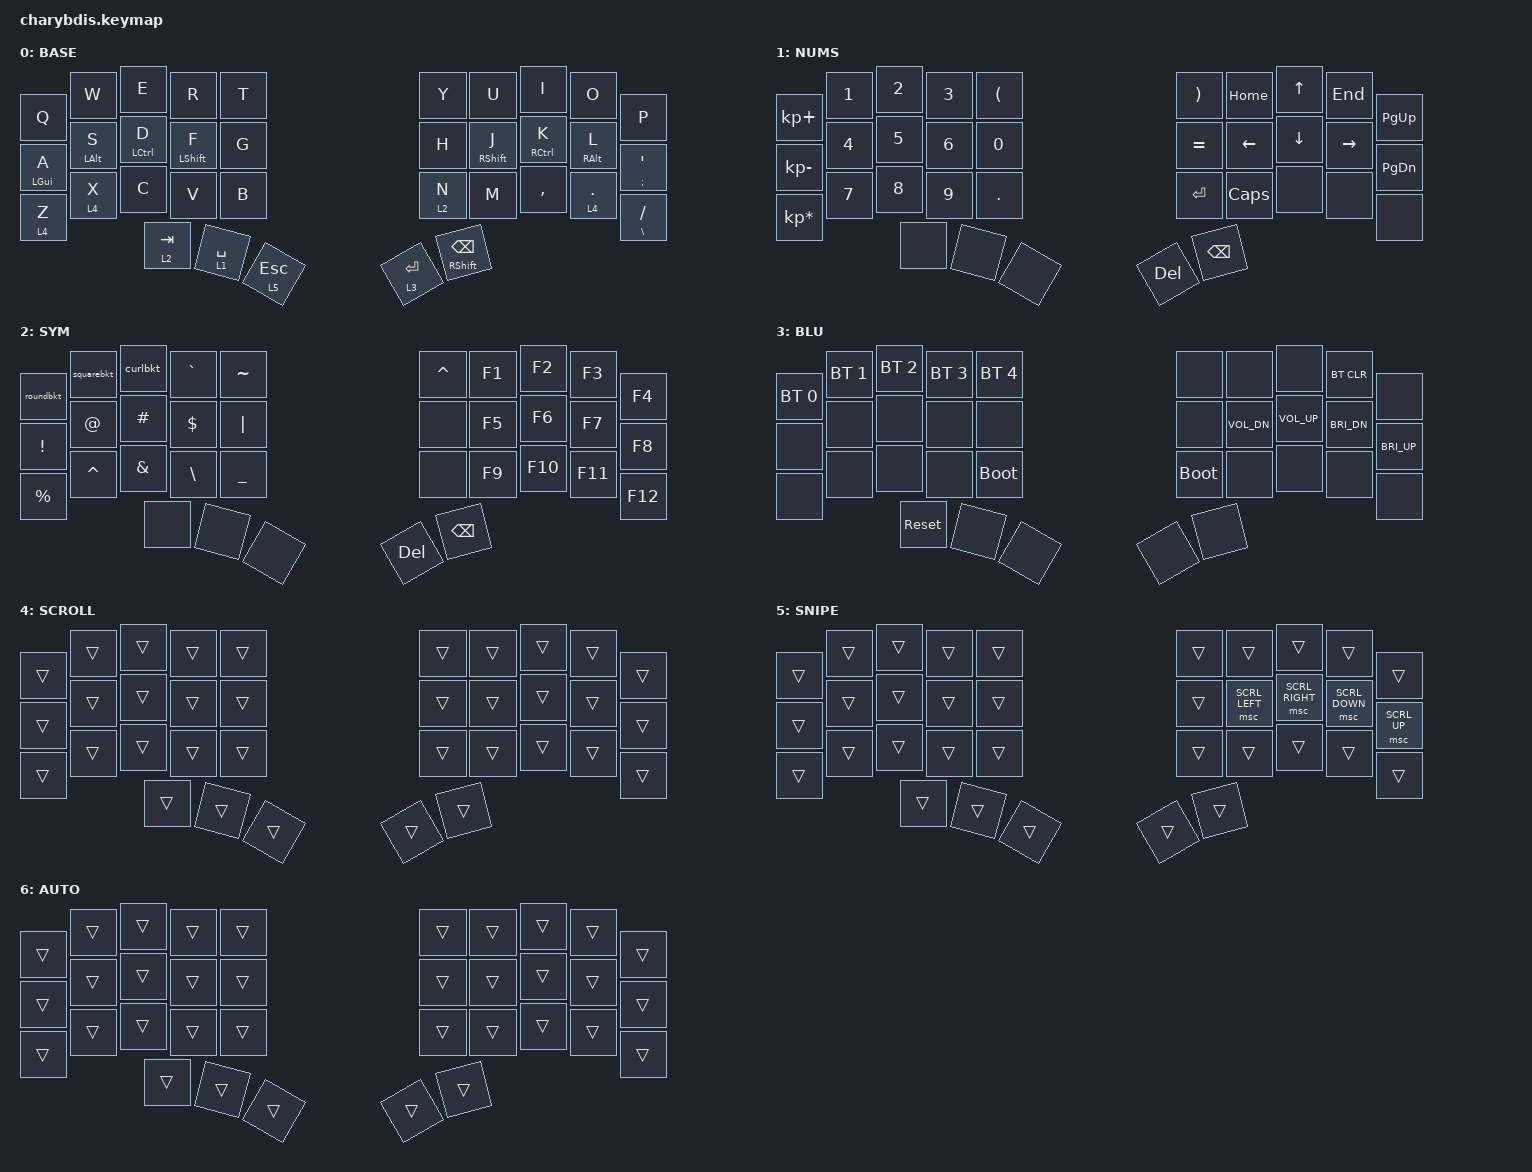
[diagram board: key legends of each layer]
#include <behaviors.dtsi>

#include <dt-bindings/zmk/bt.h>
#include <dt-bindings/zmk/keys.h>
#include <dt-bindings/zmk/pointing.h>

#include <dt-bindings/zmk/ext_power.h>
#include <dt-bindings/zmk/outputs.h>

#include "zmk-helpers/helper.h"

#define HM_TAPPING_TERM 180
#define HM_TAPPING_TERM_FAST 150 
#define HM_PRIOR_IDLE 120

#define COMBO_TERM_FAST 35
#define COMBO_TERM_SLOW 40
#define COMBO_PRIOR_IDLE 80

#define BASE 0
#define NUMS 1
#define SYM 2
#define BLU 3
#define SCROLL 4
#define SNIPE 5
#define AUTO 6

#include "zmk-helpers/key-labels/34.h"                                      // key-position labels

#define KEYS_L LT0 LT1 LT2 LT3 LT4 LM0 LM1 LM2 LM3 LM4 LB0 LB1 LB2 LB3 LB4  // left-hand keys
#define KEYS_R RT0 RT1 RT2 RT3 RT4 RM0 RM1 RM2 RM3 RM4 RB0 RB1 RB2 RB3 RB4  // right-hand keys
#define KEYS_T                 LH1 LH0 RH0 RH1                              // thumb keys

&lt {
    tapping-term-ms = <175>;
};

/ {
    combos {
        compatible = "zmk,combos";

        //INFO: Mouse clicks - left hand
        combo_mouse_left_click_l {
            timeout-ms = <COMBO_TERM_FAST>;
            require-prior-idle-ms = <COMBO_PRIOR_IDLE>;
            bindings = <&mkp LCLK>;
            key-positions = <11 12>;
        };

        combo_mouse_right_click_l {
            timeout-ms = <COMBO_TERM_FAST>;
            require-prior-idle-ms = <COMBO_PRIOR_IDLE>;
            bindings = <&mkp RCLK>;
            key-positions = <12 13>;
        };

        combo_mouse_middle_click_l {
            timeout-ms = <COMBO_TERM_FAST>;
            require-prior-idle-ms = <COMBO_PRIOR_IDLE>;
            bindings = <&mkp MCLK>;
            key-positions = <11 12 13>;
        };

        //INFO: Mouse clicks - right hand
        combo_mouse_left_click_r {
            timeout-ms = <COMBO_TERM_FAST>;
            require-prior-idle-ms = <COMBO_PRIOR_IDLE>;
            bindings = <&mkp LCLK>;
            key-positions = <16 17>;  
        };

        combo_mouse_right_click_r {
            timeout-ms = <COMBO_TERM_FAST>;
            require-prior-idle-ms = <COMBO_PRIOR_IDLE>;
            bindings = <&mkp RCLK>;
            key-positions = <17 18>;
        };

        combo_mouse_middle_click_r {
            timeout-ms = <COMBO_TERM_FAST>;
            require-prior-idle-ms = <COMBO_PRIOR_IDLE>;
            bindings = <&mkp MCLK>;
            key-positions = <16 17 18>;
        };

        //INFO: Layer activation
        combo_layer_blu_l {
            timeout-ms = <COMBO_TERM_FAST>;
            require-prior-idle-ms = <COMBO_PRIOR_IDLE>;
            bindings = <&mo 4>;
            key-positions = <38 39>;
        };

        combo_layer_blu_r {
            timeout-ms = <COMBO_TERM_FAST>;
            require-prior-idle-ms = <COMBO_PRIOR_IDLE>;
            bindings = <&mo 3>;
            key-positions = <21 22 23>;
        };

        combo_layer_scroll_l {
            timeout-ms = <COMBO_TERM_FAST>;
            require-prior-idle-ms = <COMBO_PRIOR_IDLE>;
            bindings = <&mo 4>;
            key-positions = <21 22 23>;
        };

        combo_layer_snipe_l {
            timeout-ms = <COMBO_TERM_FAST>;
            require-prior-idle-ms = <COMBO_PRIOR_IDLE>;
            bindings = <&mo 5>;
            key-positions = <20 21 22>;
        };

        combo_layer_scroll_r {
            timeout-ms = <COMBO_TERM_FAST>;
            require-prior-idle-ms = <COMBO_PRIOR_IDLE>;
            bindings = <&mo 4>;
            key-positions = <26 27 28>;
        };

        combo_layer_snipe_r {
            timeout-ms = <COMBO_TERM_FAST>;
            require-prior-idle-ms = <COMBO_PRIOR_IDLE>;
            bindings = <&mo 5>;
            key-positions = <27 28 29>;
        };

        combo_layer_auto {
            timeout-ms = <COMBO_TERM_FAST>;
            require-prior-idle-ms = <COMBO_PRIOR_IDLE>;
            bindings = <&mo 5>;
            key-positions = <3 4>;
        };

        combo_layer_dan {
            timeout-ms = <COMBO_TERM_FAST>;
            require-prior-idle-ms = <COMBO_PRIOR_IDLE>;
            bindings = <&mo 2>;
            key-positions = <33 34>;
        };
    };

    behaviors {
        hm_l: homerow_mods_left {
            compatible = "zmk,behavior-hold-tap";
            #binding-cells = <2>;
            bindings = <&kp>, <&kp>;

            flavor = "balanced";
            tapping-term-ms = <HM_TAPPING_TERM>;
            quick-tap-ms = <HM_TAPPING_TERM_FAST>;
            require-prior-idle-ms = <HM_PRIOR_IDLE>;
            hold-trigger-key-positions = <KEYS_R KEYS_T>;
            hold-trigger-on-release;
        };

        hm_r: homerow_mods_right {
            compatible = "zmk,behavior-hold-tap";
            #binding-cells = <2>;
            bindings = <&kp>, <&kp>;

            flavor = "balanced";
            tapping-term-ms = <HM_TAPPING_TERM>;
            quick-tap-ms = <HM_TAPPING_TERM_FAST>;
            require-prior-idle-ms = <HM_PRIOR_IDLE>;
            hold-trigger-key-positions = <KEYS_L KEYS_T>;
            hold-trigger-on-release;
        };
    };

    macros {
         roundbkt: round_brackets {
            label= "round_brackets";
            compatible = "zmk,behavior-macro";
            #binding-cells = <0>;
            bindings
                = <&macro_tap &kp LPAR &kp RPAR &kp LEFT>;
         };
         
         squarebkt: square_brackets {
            label= "square_brackets";
            compatible = "zmk,behavior-macro";
            #binding-cells = <0>;
            bindings
                = <&macro_tap &kp LBKT &kp RBKT &kp LEFT>;
         };
         
         curlbkt: curl_brackets {
            label= "curl_brackets";
            compatible = "zmk,behavior-macro";
            #binding-cells = <0>;
            bindings
                = <&macro_tap &kp LBRC &kp RBRC &kp LEFT>;
         };
    };

    chosen {
      zmk,physical-layout = &charybdis_5col_layout;
    };

    keymap {
        compatible = "zmk,keymap";

        BASE {
            display-name = "BASE";
            bindings = <
  &kp Q         &kp W         &kp E          &kp R          &kp T             &kp Y           &kp U          &kp I          &kp O         &kp P
  &hm_l LGUI A  &hm_l LALT S  &hm_l LCTRL D  &hm_l LSHFT F  &kp G             &kp H           &hm_r RSHFT J  &hm_r RCTRL K  &hm_r RALT L  &hm_r SEMI SQT
  &lt 4 Z       &lt 4 X       &kp C          &kp V          &kp B             &lt 2 N         &kp M          &kp COMMA      &lt 4 DOT     &mt BSLH FSLH
                              &lt 2 TAB      &lt 1 SPACE    &lt 5 ESC         &lt 3 ENTER     &hm_r RSHFT BSPC
            >;
        };

        NUMS {
            display-name = "NUMS";
            bindings = <
  &kp KP_PLUS     &kp N1     &kp N2     &kp N3     &kp LPAR              &kp RPAR     &kp HOME  &kp UP   &kp END   &kp PG_UP
  &kp KP_MINUS    &kp N4     &kp N5     &kp N6     &kp N0                &kp EQUAL    &kp LEFT  &kp DOWN &kp RIGHT &kp PG_DN
  &kp KP_MULTIPLY &kp N7     &kp N8     &kp N9     &kp DOT               &kp ENTER    &kp CAPS  &none    &none     &none
                             &none      &none      &none                 &kp DEL      &kp BSPC
            >;
        };

        SYM {
            display-name = "SYM";
            bindings = <
  &roundbkt  &squarebkt &curlbkt       &kp GRAVE      &kp TILDE             &kp CARET  &kp F1  &kp F2   &kp F3   &kp F4
  &kp EXCL   &kp AT     &kp HASH       &kp DOLLAR     &kp PIPE              &none      &kp F5  &kp F6   &kp F7   &kp F8
  &kp PRCNT  &kp CARET  &kp AMPERSAND  &kp BACKSLASH  &kp UNDERSCORE        &none      &kp F9  &kp F10  &kp F11  &kp F12
                        &none          &none          &none                 &kp DEL    &kp BSPC
            >;
        };

        BLU {
            display-name = "BLU";
            bindings = <
  &bt BT_SEL 0  &bt BT_SEL 1  &bt BT_SEL 2  &bt BT_SEL 3  &bt BT_SEL 4          &none        &none         &none         &bt BT_CLR    &none
  &none         &none         &none         &none         &none                 &none        &kp C_VOL_DN  &kp C_VOL_UP  &kp C_BRI_DN  &kp C_BRI_UP
  &none         &none         &none         &none         &bootloader           &bootloader  &none         &none         &none         &none
                              &sys_reset    &none         &none                 &none        &none
            >;
        };

        SCROLL {
            display-name = "SCROLL";
            bindings = <
                &trans  &trans  &trans  &trans    &trans    &trans  &trans  &trans  &trans  &trans
                &trans  &trans  &trans  &trans    &trans    &trans  &trans  &trans  &trans  &trans
                &trans  &trans  &trans  &trans    &trans    &trans  &trans  &trans  &trans  &trans
                                &trans  &trans    &trans    &trans  &trans
            >;
        };

        SNIPE {
            display-name = "SNIPE";
            bindings = <
                &trans  &trans  &trans  &trans    &trans    &trans  &trans          &trans           &trans          &trans
                &trans  &trans  &trans  &trans    &trans    &trans  &msc SCRL_LEFT  &msc SCRL_RIGHT  &msc SCRL_DOWN  &msc SCRL_UP
                &trans  &trans  &trans  &trans    &trans    &trans  &trans          &trans           &trans          &trans
                                &trans  &trans    &trans    &trans  &trans
            >;
        };

        AUTO {
            display-name = "AUTO";
            bindings = <
                &trans  &trans  &trans  &trans    &trans    &trans  &trans  &trans  &trans  &trans
                &trans  &trans  &trans  &trans    &trans    &trans  &trans  &trans  &trans  &trans
                &trans  &trans  &trans  &trans    &trans    &trans  &trans  &trans  &trans  &trans
                                &trans  &trans    &trans    &trans  &trans
            >;
        };
    };
};
